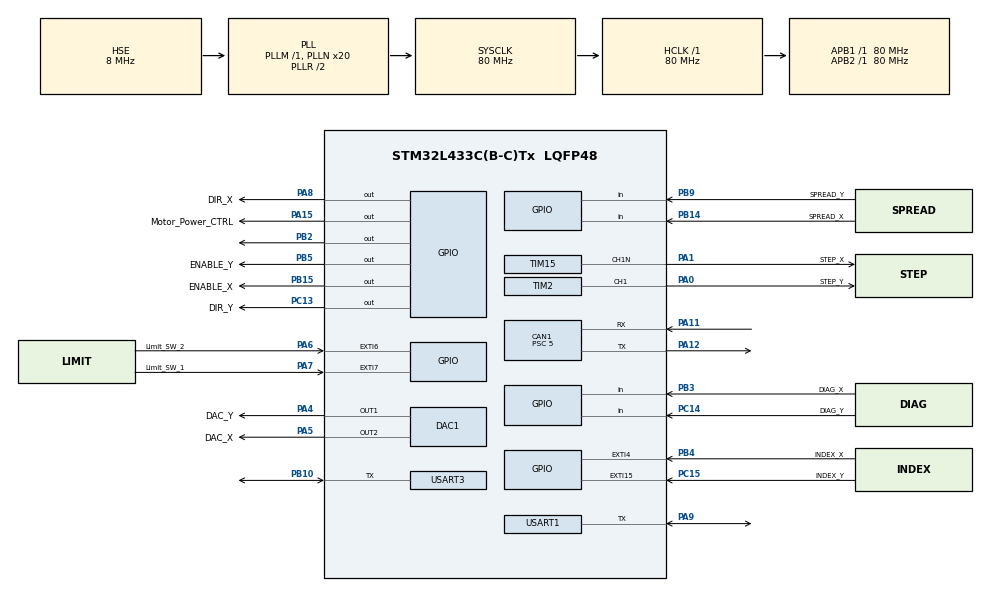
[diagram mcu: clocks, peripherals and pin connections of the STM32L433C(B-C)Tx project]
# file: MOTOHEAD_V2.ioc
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Mcu.Family=STM32L4
NVIC.CAN1_RX1_IRQn=true\:0\:0\:false\:false\:true\:true\:true
TIM15.AutoReloadPreload=TIM_AUTORELOAD_PRELOAD_ENABLE
RCC.CortexFreq_Value=80000000
PB10.Mode=Half_duplex(single_wire_mode)
NVIC.TIM6_DAC_IRQn=true\:0\:0\:false\:false\:true\:true\:true
PH0-OSC_IN\ (PH0).Signal=RCC_OSC_IN
SH.COMP_DAC12_group.0=DAC1_OUT2,DAC_OUT2
PB14.GPIO_Label=SPREAD_X
PA0.GPIO_Label=STEP_Y
PA11.Mode=CAN_Activate
PA6.GPIO_Label=Limit_SW_2
PA15\ (JTDI).Signal=GPIO_Output
PC13.GPIO_Label=DIR_Y
PB15.Signal=GPIO_Output
RCC.SYSCLKSource=RCC_SYSCLKSOURCE_PLLCLK
ProjectManager.StackSize=0x4000
PB3\ (JTDO-TRACESWO).Signal=GPIO_Input
PA14\ (JTCK-SWCLK).Signal=SYS_JTCK-SWCLK
PA12.Signal=CAN1_TX
RCC.HCLKFreq_Value=80000000
RCC.APB2TimFreq_Value=80000000
NVIC.CAN1_SCE_IRQn=true\:0\:0\:false\:false\:true\:true\:true
RCC.AHBFreq_Value=80000000
NVIC.EXTI15_10_IRQn=true\:0\:0\:false\:false\:true\:true\:true
PH1-OSC_OUT\ (PH1).Mode=HSE-External-Oscillator
RCC.HSE_VALUE=8000000
PB2.Signal=GPIO_Output
TIM15.Period=20000
PA6.GPIO_PuPd=GPIO_PULLDOWN
VP_LPTIM2_VS_LPTIM_counterModeInternalClock.Mode=Counts__internal_clock_event_00
NVIC.TIM2_IRQn=true\:0\:0\:false\:false\:true\:true\:true
PA8.Signal=GPIO_Output
TIM2.Channel-PWM\ Generation1\ CH1=TIM_CHANNEL_1
TIM6.Period=40000
PB2.GPIO_PuPd=GPIO_PULLDOWN
PA0.Signal=S_TIM2_CH1
CAN1.Prescaler=5
Mcu.Package=LQFP48
PB9.Signal=GPIO_Input
PA6.Signal=GPXTI6
VP_LPTIM1_VS_LPTIM_counterModeInternalClock.Mode=Counts__internal_clock_event_00
PB5.GPIO_Label=ENABLE_Y
RCC.APB1TimFreq_Value=80000000
TIM15.Pulse-PWM\ Generation1\ CH1N=10000
PA13\ (JTMS-SWDIO).Signal=SYS_JTMS-SWDIO
NVIC.USART1_IRQn=true\:0\:0\:false\:false\:true\:true\:true
CAN1.CalculateTimeBit=1000.00
PH0-OSC_IN\ (PH0).Mode=HSE-External-Oscillator
PA4.GPIO_Label=DAC_Y
RCC.HSI48_VALUE=48000000
PA3.Signal=LPUART1_RX
CAN1.CalculateTimeQuantum=62.5
RCC.MSI_VALUE=4000000
RCC.PLLSourceVirtual=RCC_PLLSOURCE_HSE
PA14\ (JTCK-SWCLK).Mode=Serial_Wire
NVIC.EXTI4_IRQn=true\:0\:0\:false\:false\:true\:true\:true
SH.S_TIM2_CH1.0=TIM2_CH1,PWM Generation1 CH1
PA6.GPIO_ModeDefaultEXTI=GPIO_MODE_IT_RISING_FALLING
PC15-OSC32_OUT\ (PC15).GPIO_Label=INDEX_Y
DAC1.DAC_Channel-DAC_OUT2=DAC_CHANNEL_2
PB9.GPIO_Label=SPREAD_Y
PC13.Signal=GPIO_Output
CAN1.CalculateBaudRate=1000000
PA7.GPIO_ModeDefaultEXTI=GPIO_MODE_IT_RISING_FALLING
TIM6.Prescaler=2000
VP_TIM6_VS_ClockSourceINT.Mode=Enable_Timer
PC15-OSC32_OUT\ (PC15).Signal=GPXTI15
PB3\ (JTDO-TRACESWO).GPIO_Label=DIAG_X
PH1-OSC_OUT\ (PH1).Signal=RCC_OSC_OUT
TIM2.Pulse-PWM\ Generation1\ CH1=5000/2
PC14-OSC32_IN\ (PC14).GPIO_Label=DIAG_Y
PA9.Mode=Half_duplex(single_wire_mode)
PA8.GPIO_Label=DIR_X
CAN1.BS2=CAN_BS2_2TQ
CAN1.BS1=CAN_BS1_13TQ
ProjectManager.TargetToolchain=STM32CubeIDE
SH.COMP_DAC11_group.0=DAC1_OUT1,DAC_OUT1
PA9.Signal=USART1_TX
RCC.USBFreq_Value=32000000
RCC.LSE_VALUE=32768
PA1.Signal=TIM15_CH1N
PA7.GPIO_PuPd=GPIO_PULLDOWN
PB10.Signal=USART3_TX
PB14.Signal=GPIO_Input
PA5.Signal=COMP_DAC12_group
NVIC.TIM1_BRK_TIM15_IRQn=true\:0\:0\:false\:false\:true\:true\:true
board=custom
RCC.VCOOutputFreq_Value=160000000
RCC.APB2Freq_Value=80000000
PA1.Mode=PWM Generation1 CH1N
PB15.GPIO_Label=ENABLE_X
VP_TIM2_VS_ClockSourceINT.Mode=Internal
RCC.ADCFreq_Value=32000000
PA1.GPIO_Label=STEP_X
TIM2.Period=5000
PA15\ (JTDI).GPIO_Label=Motor_Power_CTRL
Mcu.Name=STM32L433C(B-C)Tx
PA2.Signal=LPUART1_TX
TIM15.Channel-PWM\ Generation1\ CH1N=TIM_CHANNEL_1
PA13\ (JTMS-SWDIO).Mode=Serial_Wire
PA4.Signal=COMP_DAC11_group
RCC.SYSCLKFreq_VALUE=80000000
PB5.Signal=GPIO_Output
PA7.GPIO_Label=Limit_SW_1
PA12.Mode=CAN_Activate
RCC.USART1CLockSelection=RCC_USART1CLKSOURCE_SYSCLK
PA5.GPIO_Label=DAC_X
USART3.VirtualMode-Half_duplex(single_wire_mode)=VM_ASYNC
PC14-OSC32_IN\ (PC14).Signal=GPIO_Input
PA11.Signal=CAN1_RX
USART1.VirtualMode-Half_duplex(single_wire_mode)=VM_ASYNC
VP_TIM15_VS_ClockSourceINT.Mode=Internal
NVIC.EXTI9_5_IRQn=true\:0\:0\:false\:false\:true\:true\:true
ProjectManager.HeapSize=0x2000
RCC.HSI_VALUE=16000000
NVIC.PriorityGroup=NVIC_PRIORITYGROUP_4
RCC.PLLN=20
PB4\ (NJTRST).GPIO_Label=INDEX_X
RCC.APB1Freq_Value=80000000
VP_CRC_VS_CRC.Mode=CRC_Activate
RCC.USART3CLockSelection=RCC_USART3CLKSOURCE_SYSCLK
NVIC.CAN1_RX0_IRQn=true\:0\:0\:false\:false\:true\:true\:true
PA7.Signal=GPXTI7
PB4\ (NJTRST).Signal=GPXTI4

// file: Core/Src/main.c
/* USER CODE BEGIN Header */
/**
 ******************************************************************************
 * @file           : main.c
 * @brief          : Main program body
 ******************************************************************************
 * @attention
 *
 * <h2><center>&copy; Copyright (c) 2021 STMicroelectronics.
 * All rights reserved.</center></h2>
 *
 * This software component is licensed by ST under BSD 3-Clause license,
 * the "License"; You may not use this file except in compliance with the
 * License. You may obtain a copy of the License at:
 *                        opensource.org/licenses/BSD-3-Clause
 *
 ******************************************************************************
 */
/* USER CODE END Header */
#include "main.h"
#include "can.h"
#include "crc.h"
#include "dac.h"
#include "lptim.h"
#include "tim.h"
#include "usart.h"
#include "gpio.h"

/* USER CODE BEGIN Includes */
#include <stdbool.h>
//#include <tgmath.h>
#include <math.h>
#include "TMC2209.h"
#include <string.h>
/* USER CODE END Includes */

/* USER CODE BEGIN PV */
extern CAN_HandleTypeDef hcan1;
extern CAN_TxHeaderTypeDef TxHeader;
extern CAN_FilterTypeDef CAN_FILTER;

uint32_t System_Freq;
uint8_t TxData[8];
uint8_t RxData[8];
uint32_t TxMailbox;

int32_t IndexCounter_X = 0;
int32_t IndexCounter_Y = 0;
uint32_t Tim2_counter = 0;

volatile uint32_t counter = 0;
uint16_t Prescaler = 0;
uint8_t result;
uint8_t aData;

/* USER CODE END PV */

void SystemClock_Config(void);
/* USER CODE BEGIN PFP */
void tmc2209_CRC8(uint8_t* datagram, uint8_t datagramLength);
void CAN_Init(void);
void stopping_sequence(TIM_HandleTypeDef htim);

void SendToTMC2209_X();
void SendToTMC2209_Y();
/* USER CODE END PFP */

/* USER CODE BEGIN 0 */
uint8_t debug_fl = 0;
int32_t tmcdata;

uint16_t Speed_x = 1000;
/* USER CODE END 0 */

int main(void)
{

	/* MCU Configuration--------------------------------------------------------*/

	/* Reset of all peripherals, Initializes the Flash interface and the Systick. */
	HAL_Init();

	/* Configure the system clock */
	SystemClock_Config();

	/* Initialize all configured peripherals */
	MX_GPIO_Init();
	MX_CAN1_Init();
	MX_DAC1_Init();
	MX_LPTIM1_Init();
	MX_USART1_UART_Init();
	MX_USART3_UART_Init();
	MX_TIM2_Init();
	MX_TIM15_Init();
	MX_LPTIM2_Init();
	MX_TIM6_Init();
	MX_CRC_Init();
	/* USER CODE BEGIN 2 */
	HAL_GPIO_WritePin(ENABLE_Y_GPIO_Port, ENABLE_Y_Pin, GPIO_PIN_RESET);
	Step_X = Step_Driver_Init(Axis_X);
	Step_Y = Step_Driver_Init(Axis_Y);
	HAL_DAC_SetValue(&hdac1, DAC_CHANNEL_1, DAC_ALIGN_12B_R, 1500);
	HAL_DAC_Start(&hdac1, DAC_CHANNEL_1);
	HAL_DAC_SetValue(&hdac1, DAC_CHANNEL_2, DAC_ALIGN_12B_R, 1500);
	HAL_DAC_Start(&hdac1, DAC_CHANNEL_2);

	CAN_Init();
	HAL_CAN_Start(&hcan1);
	//	HAL_TIM_PWM_Start(&htim2, TIM_CHANNEL_1);
	HAL_TIM_Base_Start_IT(&htim6);

	//	HAL_TIMEx_PWMN_Start(&htim15, TIM_CHANNEL_1);
	HAL_LPTIM_PWM_Start(&hlptim1, 6, 3);
	/* USER CODE END 2 */

	/* Infinite loop */
	/* USER CODE BEGIN WHILE */
	HAL_GPIO_WritePin(ENABLE_X_GPIO_Port, ENABLE_X_Pin, GPIO_PIN_SET);
	HAL_GPIO_WritePin(ENABLE_Y_GPIO_Port, ENABLE_Y_Pin, GPIO_PIN_SET);
	TMC2209TypeDef TMC_Y;
	ConfigurationTypeDef TMC_Y_Conf;
	const int32_t reset_reg[128];
	tmc2209_init(&TMC_Y, TMC_UART_Y, 1, &TMC_Y_Conf, reset_reg);
	TMC2209TypeDef TMC_X;
	ConfigurationTypeDef TMC_X_Conf;
	tmc2209_init(&TMC_X, TMC_UART_X, 1, &TMC_X_Conf, reset_reg);

	tmc_fillCRC8Table(0x07, false, 0);

	int32_t tmcdata = 451;

	//	tmc2209_writeInt(&TMC_Y, TMC2209_GCONF, tmcdata);
	//	tmc2209_writeInt(&TMC_X, TMC2209_GCONF, tmcdata);
	while (1)
	{
		//		uint8_t package[8];
		//		memcpy(package, UART_DATA, 8);
		//		memset(UART_DATA, 0, 8);
		//
		if(debug_fl == 1){
			//			SendToTMC2209_X();

			Motor_X_Positive_Go(Speed_x);
			debug_fl = 0;
		}
		else if(debug_fl == 2){
			Motor_X_Negative_Go(Speed_x);
			debug_fl = 0;
		}
		else if(debug_fl == 3){
			Motor_Y_Positive_Go(Speed_x);
			debug_fl = 0;
		}
		else if(debug_fl == 4){
			Motor_Y_Negative_Go(Speed_x);
			debug_fl = 0;
		}

		/* USER CODE END WHILE */

	}
}

void SystemClock_Config(void)
{
	RCC_OscInitTypeDef RCC_OscInitStruct = {0};
	RCC_ClkInitTypeDef RCC_ClkInitStruct = {0};
	RCC_PeriphCLKInitTypeDef PeriphClkInit = {0};

	/** Initializes the RCC Oscillators according to the specified parameters
	 * in the RCC_OscInitTypeDef structure.
	 */
	RCC_OscInitStruct.OscillatorType = RCC_OSCILLATORTYPE_HSE;
	RCC_OscInitStruct.HSEState = RCC_HSE_ON;
	RCC_OscInitStruct.PLL.PLLState = RCC_PLL_ON;
	RCC_OscInitStruct.PLL.PLLSource = RCC_PLLSOURCE_HSE;
	RCC_OscInitStruct.PLL.PLLM = 1;
	RCC_OscInitStruct.PLL.PLLN = 20;
	RCC_OscInitStruct.PLL.PLLP = RCC_PLLP_DIV7;
	RCC_OscInitStruct.PLL.PLLQ = RCC_PLLQ_DIV2;
	RCC_OscInitStruct.PLL.PLLR = RCC_PLLR_DIV2;
	if (HAL_RCC_OscConfig(&RCC_OscInitStruct) != HAL_OK)
	{
		Error_Handler();
	}
	/** Initializes the CPU, AHB and APB buses clocks
	 */
	RCC_ClkInitStruct.ClockType = RCC_CLOCKTYPE_HCLK|RCC_CLOCKTYPE_SYSCLK
			|RCC_CLOCKTYPE_PCLK1|RCC_CLOCKTYPE_PCLK2;
	RCC_ClkInitStruct.SYSCLKSource = RCC_SYSCLKSOURCE_PLLCLK;
	RCC_ClkInitStruct.AHBCLKDivider = RCC_SYSCLK_DIV1;
	RCC_ClkInitStruct.APB1CLKDivider = RCC_HCLK_DIV1;
	RCC_ClkInitStruct.APB2CLKDivider = RCC_HCLK_DIV1;

	if (HAL_RCC_ClockConfig(&RCC_ClkInitStruct, FLASH_LATENCY_4) != HAL_OK)
	{
		Error_Handler();
	}
	PeriphClkInit.PeriphClockSelection = RCC_PERIPHCLK_USART1|RCC_PERIPHCLK_USART3
			|RCC_PERIPHCLK_LPTIM1|RCC_PERIPHCLK_LPTIM2;
	PeriphClkInit.Usart1ClockSelection = RCC_USART1CLKSOURCE_SYSCLK;
	PeriphClkInit.Usart3ClockSelection = RCC_USART3CLKSOURCE_SYSCLK;
	PeriphClkInit.Lptim1ClockSelection = RCC_LPTIM1CLKSOURCE_PCLK;
	PeriphClkInit.Lptim2ClockSelection = RCC_LPTIM2CLKSOURCE_PCLK;
	if (HAL_RCCEx_PeriphCLKConfig(&PeriphClkInit) != HAL_OK)
	{
		Error_Handler();
	}
	/** Configure the main internal regulator output voltage
	 */
	if (HAL_PWREx_ControlVoltageScaling(PWR_REGULATOR_VOLTAGE_SCALE1) != HAL_OK)
	{
		Error_Handler();
	}
}

/* USER CODE BEGIN 4 */
Step_Driver Step_Driver_Init(Axis a){
	Step_Driver result;
	result.Axis = a;
	return result;
}

uint32_t Motor_Stop;
uint32_t Motor_gogo;
void Motor_Parser(uint8_t *x){
	Motor_gogo++;
	uint16_t Speed_X = x[1] + (x[2] << 8);
	uint16_t Speed_Y = x[3] + (x[4] << 8);
	switch (x[0]){
	case CAN_Package_X_Positive:
		Motor_X_Positive_Go(Speed_X);
		Motor_Y_Stop();
		break;
	case CAN_Package_X_Negative:
		Motor_X_Negative_Go(Speed_X);
		Motor_Y_Stop();
		break;
	case CAN_Package_Y_Positive:
		Motor_Y_Positive_Go(Speed_Y);
		Motor_X_Stop();
		break;
	case CAN_Package_Y_Negative:
		Motor_Y_Negative_Go(Speed_Y);
		Motor_X_Stop();
		break;

	case (CAN_Package_X_Negative | CAN_Package_Y_Negative):
				Motor_X_Negative_Go(Speed_X);
	Motor_Y_Negative_Go(Speed_Y);
	break;
	case (CAN_Package_X_Positive | CAN_Package_Y_Negative):
				Motor_X_Positive_Go(Speed_X);
	Motor_Y_Negative_Go(Speed_Y);
	break;
	case (CAN_Package_X_Negative | CAN_Package_Y_Positive):
				Motor_X_Negative_Go(Speed_X);
	Motor_Y_Positive_Go(Speed_Y);
	break;
	case (CAN_Package_X_Positive | CAN_Package_Y_Positive):
				Motor_X_Positive_Go(Speed_X);
	Motor_Y_Positive_Go(Speed_Y);
	break;
	case 0:
	case CAN_Package_All_Stop:
		Motor_X_Stop();
		Motor_Y_Stop();
		Motor_Stop++;
		Motor_gogo = 0;
		break;
	case New_Angle_Y:
	case New_Angle_X:

		break;
	default:
		break;
	}
}

void stopping_sequence(TIM_HandleTypeDef htim){
	for(uint16_t current_speed = htim.Instance->PSC; current_speed != 0xffff; ++current_speed){
		htim.Instance->PSC = current_speed;
	}
}
void HAL_GPIO_EXTI_Callback(uint16_t GPIO_Pin){
	if (GPIO_Pin == Limit_SW_2_Pin){
		if (HAL_GPIO_ReadPin(Limit_SW_2_GPIO_Port, Limit_SW_2_Pin) == GPIO_PIN_RESET){
			HAL_GPIO_WritePin(ENABLE_Y_GPIO_Port, ENABLE_Y_Pin, GPIO_PIN_SET);
			HAL_TIM_PWM_Stop(&htim2, TIM_CHANNEL_1);
			Step_Y.Buttons |= LS_Down;
		}
		else {
			Step_Y.Buttons &= ~LS_Down;
		}
	}
	else if(GPIO_Pin == Limit_SW_1_Pin){
		if (HAL_GPIO_ReadPin(Limit_SW_1_GPIO_Port, Limit_SW_1_Pin) == GPIO_PIN_RESET){
			HAL_GPIO_WritePin(ENABLE_Y_GPIO_Port, ENABLE_Y_Pin, GPIO_PIN_SET);
			HAL_TIM_PWM_Stop(&htim2, TIM_CHANNEL_1);
			Step_Y.Buttons |= LS_Up;
		}
		else {
			Step_Y.Buttons &= ~LS_Up;
		}
	}
	else if(GPIO_Pin == INDEX_Y_Pin){
		if (Step_Y.Direction == Direction_Positive){
			IndexCounter_Y++;
		}else {
			IndexCounter_Y--;
		}
		Step_Y.Angle = fmodf(IndexCounter_Y * 7.2 / 63.0, 360.0);
		Send_Data(&Step_Y);
	}
	else if(GPIO_Pin == INDEX_X_Pin){
		if (Step_X.Direction == Direction_Positive){
			IndexCounter_X++;
		}else {
			IndexCounter_X--;
		}
		Step_X.Angle = fmodf(IndexCounter_X * 7.2 / 63.0, 360.0);
		Send_Data(&Step_X);
	}
	else{
		__NOP();
	}
}
void Send_Data(Step_Driver* SD)
{
	//	uint8_t *Package = &(SD->Axis);
	//	memcpy(&Package[1], &(SD->Angle), sizeof(SD->Angle));
	//
	//	HAL_CAN_AddTxMessage(&hcan1, &TxHeader, Package, &TxMailbox);
}
bool HasFlag(uint32_t a, uint32_t b)
{
	return ((a & b) == b) ? true : false;
}

void tmc2209_CRC8(uint8_t* datagram, uint8_t datagramLength)
{
	tmc_CRC8(datagram, datagramLength, 0);
	//	int i,j;
	//	uint8_t* crc = datagram + (datagramLength-1); // CRC located in last byte of message
	//	uint8_t currentByte;
	//	*crc = 0;
	//	for (i=0; i<(datagramLength-1); i++) { // Execute for all bytes of a message
	//		currentByte = datagram[i]; // Retrieve a byte to be sent from Array
	//		for (j=0; j<8; j++) {
	//			if ((*crc >> 7) ^ (currentByte & 0x01)) // update CRC based result of XOR operation
	//			{
	//				*crc = (*crc << 1) ^ 0x07;
	//			}
	//			else
	//			{
	//				*crc = (*crc << 1);
	//			}
	//			currentByte = currentByte >> 1;
	//		} // for CRC bit
	//	} // for message byte
}

#define SYNC 0x05
#define Y_ADDR 0x01
#define X_ADDR 0x00
#define WRITE_READ_BIT 0x80
#define reg0 0x00
#define INDEX_TOGGLE 0x20
#define PDN_UART 0x40
#define MSTEP 0x80
#define bit0 0x01
uint8_t data[4] = {INDEX_TOGGLE, 0, 0, bit0 | INDEX_TOGGLE | PDN_UART | MSTEP};
void SendToTMC2209_Y(){
	uint8_t package[] = {SYNC, Y_ADDR, WRITE_READ_BIT | reg0, data[3], data[2], data[1], data[0], 0};
	tmc2209_CRC8(package, sizeof(package));
	HAL_UART_Transmit(&huart1, package, sizeof(package), 0xffff);
}
void SendToTMC2209_X(){
	uint8_t package[] = {SYNC, X_ADDR, WRITE_READ_BIT | reg0, data[3], data[2], data[1], data[0], 0};
	tmc2209_CRC8(package, sizeof(package));
	HAL_UART_Transmit(&huart3, package, sizeof(package), 0xffff);
}

/* USER CODE END 4 */

void Error_Handler(void)
{
	__disable_irq();
	while (1)
	{
	}
}

/************************ (C) COPYRIGHT STMicroelectronics *****END OF FILE****/
